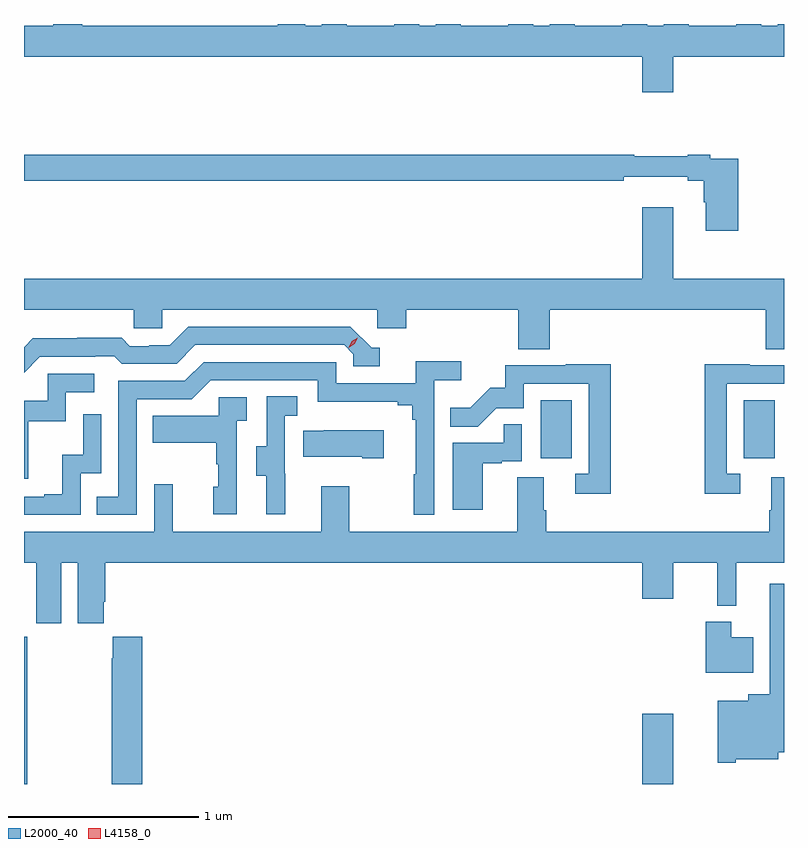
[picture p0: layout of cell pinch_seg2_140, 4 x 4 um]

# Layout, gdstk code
import gdstk
lib = gdstk.Library(unit=1e-6, precision=1e-09)
def R(c, l, rs):  # rectangles x0, y0, x1, y1
    for r in rs: c.add(gdstk.rectangle(r[:2], r[2:], *l))
def P(c, l, *ps):  # polygons
    for p in ps: c.add(gdstk.Polygon(p, *l))
L2000_40 = (2000, 40)
L4158_0 = (4158, 0)

pinch_seg2_140 = lib.new_cell('pinch_seg2_140')
R(pinch_seg2_140, L2000_40, [(1120.795,634.484,1120.812,635.26), (1124.048,634.484,1124.212,634.855), (1123.514,636.198,1123.678,636.505), (1124.582,636.198,1124.746,636.505)])
P(pinch_seg2_140, L2000_40, [(1123.343,638.484),(1123.343,638.476),(1123.093,638.476),(1123.093,638.484),(1122.962,638.484),(1122.962,638.476),(1122.874,638.476),(1122.874,638.484),(1122.743,638.484),(1122.743,638.476),(1122.493,638.476),(1122.493,638.484),(1122.362,638.484),(1122.362,638.476),(1122.274,638.476),(1122.274,638.484),(1122.131,638.484),(1122.131,638.476),(1121.102,638.476),(1121.102,638.484),(1120.949,638.484),(1120.949,638.476),(1120.795,638.476),(1120.795,638.312),(1124.048,638.312),(1124.048,638.124),(1124.212,638.124),(1124.212,638.312),(1124.795,638.312),(1124.795,638.484),(1124.762,638.484),(1124.762,638.476),(1124.674,638.476),(1124.674,638.484),(1124.543,638.484),(1124.543,638.476),(1124.293,638.476),(1124.293,638.484),(1124.162,638.484),(1124.162,638.476),(1124.074,638.476),(1124.074,638.484),(1123.943,638.484),(1123.943,638.476),(1123.693,638.476),(1123.693,638.484),(1123.562,638.484),(1123.562,638.476),(1123.474,638.476),(1123.474,638.484)],
  [(1124.555,637.776),(1124.408,637.776),(1124.408,637.796),(1124.288,637.796),(1124.288,637.789),(1124.008,637.789),(1124.008,637.796),(1120.795,637.796),(1120.795,637.66),(1123.952,637.66),(1123.952,637.679),(1124.288,637.679),(1124.288,637.66),(1124.372,637.66),(1124.372,637.545),(1124.384,637.545),(1124.384,637.395),(1124.555,637.395)],
  [(1123.562,636.98),(1124.699,636.98),(1124.699,636.772),(1124.795,636.772),(1124.795,637.144),(1124.212,637.144),(1124.212,637.519),(1124.048,637.519),(1124.048,637.144),(1120.795,637.144),(1120.795,636.98),(1121.373,636.98),(1121.373,636.882),(1121.523,636.882),(1121.523,636.98),(1122.654,636.98),(1122.654,636.882),(1122.806,636.882),(1122.806,636.98),(1123.397,636.98),(1123.397,636.772),(1123.562,636.772)],
  [(1120.878,636.732),(1121.171,636.732),(1121.171,636.735),(1121.27,636.735),(1121.309,636.696),(1121.598,636.696),(1121.697,636.795),(1122.48,636.795),(1122.528,636.747),(1122.528,636.684),(1122.667,636.684),(1122.667,636.78),(1122.624,636.78),(1122.513,636.891),(1121.66,636.891),(1121.561,636.792),(1121.454,636.792),(1121.454,636.789),(1121.351,636.789),(1121.309,636.832),(1121.076,636.832),(1121.076,636.829),(1120.84,636.829),(1120.795,636.784),(1120.795,636.649)],
  [(1121.388,636.51),(1121.679,636.51),(1121.778,636.609),(1122.342,636.609),(1122.342,636.497),(1122.761,636.497),(1122.761,636.478),(1122.838,636.478),(1122.838,636.401),(1122.857,636.401),(1122.857,636.113),(1122.846,636.113),(1122.846,635.901),(1122.954,635.901),(1122.954,636.608),(1123.096,636.608),(1123.096,636.71),(1122.857,636.71),(1122.857,636.594),(1122.438,636.594),(1122.438,636.705),(1121.741,636.705),(1121.642,636.606),(1121.292,636.606),(1121.292,635.997),(1121.179,635.997),(1121.179,635.901),(1121.388,635.901)],
  [(1124.566,636.117),(1124.493,636.117),(1124.493,636.591),(1124.795,636.591),(1124.795,636.687),(1124.615,636.687),(1124.615,636.692),(1124.377,636.692),(1124.377,636.012),(1124.566,636.012)],
  [(1123.883,636.692),(1123.645,636.692),(1123.645,636.687),(1123.327,636.687),(1123.327,636.57),(1123.25,636.57),(1123.143,636.463),(1123.039,636.463),(1123.039,636.364),(1123.183,636.364),(1123.281,636.462),(1123.425,636.462),(1123.425,636.591),(1123.767,636.591),(1123.767,636.117),(1123.695,636.117),(1123.695,636.012),(1123.883,636.012)],
  [(1120.817,636.393),(1121.016,636.393),(1121.016,636.546),(1121.164,636.546),(1121.164,636.642),(1120.92,636.642),(1120.92,636.501),(1120.795,636.501),(1120.795,636.09),(1120.817,636.09)],
  [(1122.17,636.117),(1122.168,636.117),(1122.168,636.421),(1122.232,636.421),(1122.232,636.524),(1122.072,636.524),(1122.072,636.261),(1122.017,636.261),(1122.017,636.106),(1122.071,636.106),(1122.071,635.904),(1122.17,635.904)],
  [(1121.916,636.395),(1121.968,636.395),(1121.968,636.519),(1121.82,636.519),(1121.82,636.421),(1121.473,636.421),(1121.473,636.281),(1121.808,636.281),(1121.808,636.167),(1121.818,636.167),(1121.818,636.048),(1121.792,636.048),(1121.792,635.904),(1121.916,635.904)],
  [(1121.094,636.12),(1121.202,636.12),(1121.202,636.43),(1121.106,636.43),(1121.106,636.218),(1120.997,636.218),(1120.997,636.01),(1120.901,636.01),(1120.901,635.997),(1120.795,635.997),(1120.795,635.901),(1121.094,635.901)],
  [(1123.21,636.171),(1123.31,636.171),(1123.31,636.183),(1123.416,636.183),(1123.416,636.377),(1123.321,636.377),(1123.321,636.279),(1123.052,636.279),(1123.052,635.928),(1123.21,635.928)],
  [(1122.688,636.346),(1122.373,636.346),(1122.373,636.343),(1122.265,636.343),(1122.265,636.206),(1122.575,636.206),(1122.575,636.199),(1122.688,636.199)],
  [(1120.99,635.648),(1121.078,635.648),(1121.078,635.331),(1121.215,635.331),(1121.215,635.443),(1121.222,635.443),(1121.222,635.648),(1124.048,635.648),(1124.048,635.46),(1124.212,635.46),(1124.212,635.648),(1124.443,635.648),(1124.443,635.423),(1124.543,635.423),(1124.543,635.648),(1124.795,635.648),(1124.795,636.098),(1124.729,636.098),(1124.729,635.924),(1124.717,635.924),(1124.717,635.812),(1123.544,635.812),(1123.544,635.924),(1123.531,635.924),(1123.531,636.098),(1123.391,636.098),(1123.391,635.812),(1122.507,635.812),(1122.507,636.052),(1122.359,636.052),(1122.359,635.812),(1121.579,635.812),(1121.579,636.061),(1121.481,636.061),(1121.481,635.812),(1120.795,635.812),(1120.795,635.648),(1120.859,635.648),(1120.859,635.331),(1120.99,635.331)],
  [(1124.541,634.613),(1124.764,634.613),(1124.764,634.652),(1124.795,634.652),(1124.795,635.539),(1124.721,635.539),(1124.721,634.957),(1124.606,634.957),(1124.606,634.921),(1124.447,634.921),(1124.447,634.595),(1124.541,634.595)],
  [(1124.632,635.257),(1124.518,635.257),(1124.518,635.338),(1124.384,635.338),(1124.384,635.069),(1124.632,635.069)],
  [(1121.417,635.26),(1121.261,635.26),(1121.261,635.147),(1121.257,635.147),(1121.257,634.484),(1121.417,634.484)])
P(pinch_seg2_140, L4158_0, [(1122.504,636.781),(1122.504,636.781),(1122.521,636.813),(1122.552,636.832),(1122.552,636.832),(1122.552,636.832),(1122.535,636.8),(1122.504,636.781)])

lib.write_gds('pinch_seg2_140.gds')
